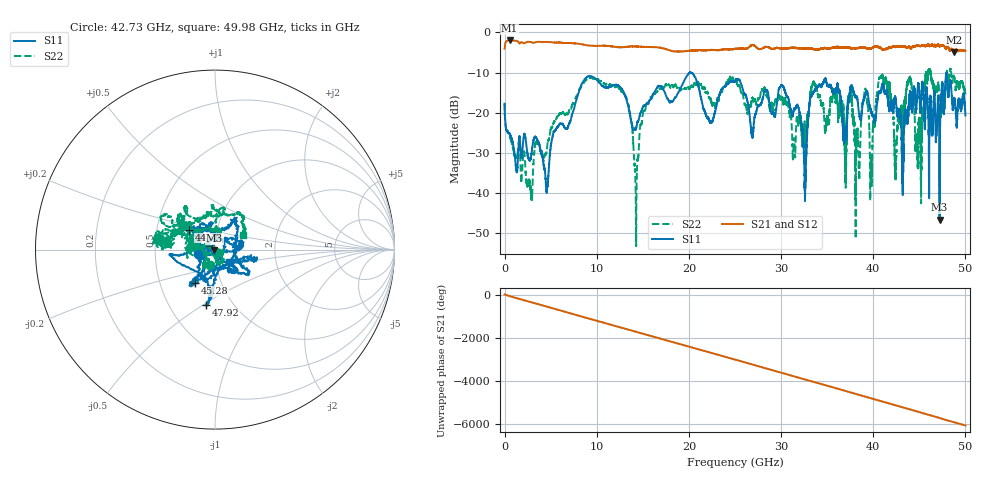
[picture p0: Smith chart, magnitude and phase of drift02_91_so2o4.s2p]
!Created with skrf (http://scikit-rf.org).
# Hz S RI R 50.0
!freq ReS11 ImS11 ReS21 ImS21 ReS12 ImS12 ReS22 ImS22
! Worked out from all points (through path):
!   10001 points, 300 kHz to 50 GHz, reference 50 ohm
!   highest |S21| = -1.99 dB at 540.3 MHz (marker M1); lowest = -4.8 dB at 48.77 GHz (marker M2)
!   group delay of S21, straight-line fit = 337 ps
!   lowest |S11| = -46.5 dB at 47.2 GHz (marker M3), VSWR 1.01, Z = 49.7 - j0.333 ohm
!   |S11| at or under -10 dB: start of sweep to 20.06 GHz; 20.20731 GHz to 20.22279 GHz (15.48 MHz wide, 0.0766 % of centre); 20.24 GHz to end of sweep (the widest 3 of 6)
!   |S22| runs from -53.2 to -9.0 dB; largest |S21 - S12| = 0.032
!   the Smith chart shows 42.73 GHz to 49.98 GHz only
!   S11 on the Smith chart (normalised r, x): 42.73 GHz: 0.83, -0.04; 44 GHz: 0.73, +0.17; 45.28 GHz: 0.75, -0.29; 47.92 GHz: 0.75, -0.52; 49.98 GHz: 1.15, -0.16
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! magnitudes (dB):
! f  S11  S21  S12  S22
! 300 kHz  -17.9  -4.0  -4.0  -17.5
! 540.3 MHz  -25.1  -2.0  -2.0  -25.8
! 4.565 GHz  -39.8  -2.4  -2.4  -29.4
! 8.335 GHz  -13.0  -2.9  -2.9  -13.2
! 13.01 GHz  -15.3  -3.6  -3.6  -15.7
! 14.28 GHz  -23.8  -3.5  -3.5  -48.0
! 16.67 GHz  -13.3  -3.7  -3.7  -14.5
! 25 GHz  -12.1  -4.1  -4.1  -12.1
! 26.86 GHz  -25.8  -3.1  -3.1  -16.4
! 30.19 GHz  -13.3  -4.1  -4.1  -16.7
! 32.58 GHz  -38.9  -3.9  -3.9  -25.5
! 33.34 GHz  -15.6  -4.0  -4.1  -13.4
! 38.29 GHz  -16.8  -3.9  -3.9  -23.9
! 41.67 GHz  -18.3  -3.8  -3.9  -12.3
! 42.73 GHz  -20.2  -3.5  -3.4  -20.9
! 44 GHz  -14.8  -3.7  -3.7  -11.3
! 45.28 GHz  -13.2  -3.2  -3.3  -24.7
! 47.2 GHz  -46.5  -3.5  -3.4  -16.1
! 47.92 GHz  -10.0  -4.1  -4.0  -11.2
! 48.77 GHz  -16.9  -4.8  -4.8  -10.7
! 49.98 GHz  -19.9  -4.6  -4.5  -15.1
! 50 GHz  -20.7  -4.6  -4.6  -15.2
